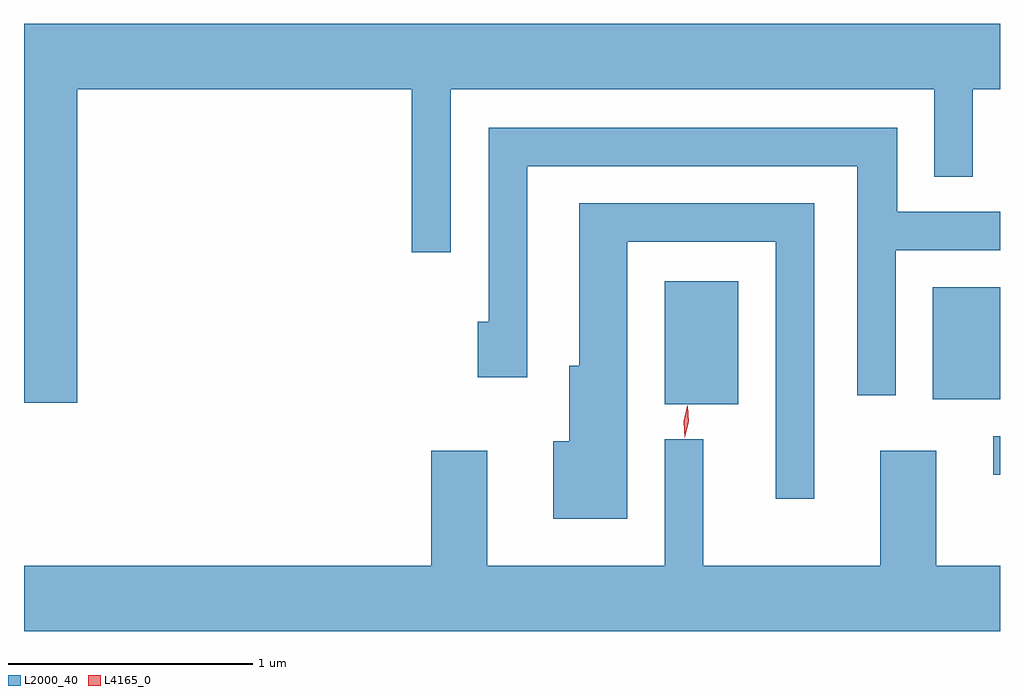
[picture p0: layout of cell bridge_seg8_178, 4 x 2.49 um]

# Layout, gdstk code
import gdstk
lib = gdstk.Library(unit=1e-6, precision=1e-09)
def R(c, l, rs):  # rectangles x0, y0, x1, y1
    for r in rs: c.add(gdstk.rectangle(r[:2], r[2:], *l))
def P(c, l, *ps):  # polygons
    for p in ps: c.add(gdstk.Polygon(p, *l))
L2000_40 = (2000, 40)
L4165_0 = (4165, 0)

bridge_seg8_178 = lib.new_cell('bridge_seg8_178')
R(bridge_seg8_178, L2000_40, [(1083.903,1934.736,1083.931,1934.894), (1082.556,1935.026,1082.859,1935.529), (1083.656,1935.046,1083.931,1935.504)])
P(bridge_seg8_178, L2000_40, [(1079.931,1935.031),(1080.149,1935.031),(1080.149,1936.316),(1081.521,1936.316),(1081.521,1935.648),(1081.679,1935.648),(1081.679,1936.316),(1083.661,1936.316),(1083.661,1935.958),(1083.819,1935.958),(1083.819,1936.316),(1083.931,1936.316),(1083.931,1936.584),(1079.931,1936.584)],
  [(1083.504,1935.656),(1083.931,1935.656),(1083.931,1935.814),(1083.509,1935.814),(1083.509,1936.159),(1081.836,1936.159),(1081.836,1935.364),(1081.791,1935.364),(1081.791,1935.136),(1081.994,1935.136),(1081.994,1936.001),(1083.346,1936.001),(1083.346,1935.063),(1083.504,1935.063)],
  [(1082.404,1935.691),(1083.011,1935.691),(1083.011,1934.638),(1083.169,1934.638),(1083.169,1935.849),(1082.206,1935.849),(1082.206,1935.184),(1082.166,1935.184),(1082.166,1934.874),(1082.101,1934.874),(1082.101,1934.556),(1082.404,1934.556)],
  [(1083.931,1934.364),(1083.669,1934.364),(1083.669,1934.834),(1083.441,1934.834),(1083.441,1934.364),(1082.714,1934.364),(1082.714,1934.883),(1082.556,1934.883),(1082.556,1934.364),(1081.829,1934.364),(1081.829,1934.834),(1081.601,1934.834),(1081.601,1934.364),(1079.931,1934.364),(1079.931,1934.096),(1083.931,1934.096)])
P(bridge_seg8_178, L4165_0, [(1082.639,1934.888),(1082.635,1934.955),(1082.65,1935.02),(1082.65,1935.02),(1082.651,1935.02),(1082.655,1934.953),(1082.64,1934.888),(1082.64,1934.888)])

lib.write_gds('bridge_seg8_178.gds')
